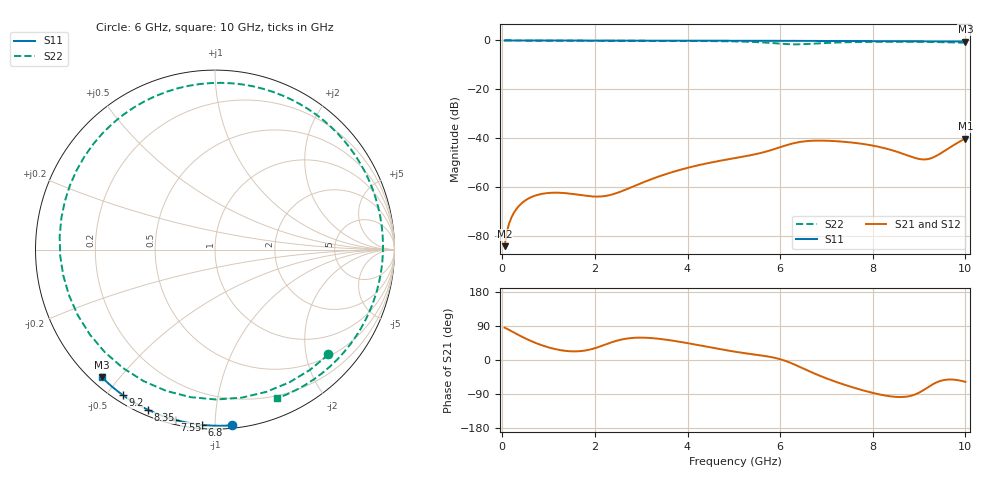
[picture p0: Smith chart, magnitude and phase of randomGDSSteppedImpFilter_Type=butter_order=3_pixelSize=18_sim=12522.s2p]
! freq	dB(S11)	phase(S11)	dB(S12)	phase(S12)
!  dB(S21)	phase(S21)	dB(S22)	phase(S22)
!S-par simulation data
#  GHz  S  DB  R 50
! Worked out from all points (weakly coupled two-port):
!   200 points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, 50 MHz to 10 GHz, reference 50 ohm
!   highest |S21| = -40.19 dB at 10 GHz (marker M1); lowest = -84.3 dB at 50 MHz (marker M2)
!   lowest |S11| = -0.4 dB at 10 GHz (marker M3), VSWR 39.05, Z = 1.54 - j22.5 ohm
!   |S11| at or under -10 dB: nowhere
!   |S22| runs from -1.6 to 0.0 dB; largest |S21 - S12| = 0
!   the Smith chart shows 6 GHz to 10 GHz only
!   S11 on the Smith chart (normalised r, x): 6 GHz: 0.02, -1.10; 6.8 GHz: 0.02, -0.93; 7.55 GHz: 0.02, -0.79; 8.35 GHz: 0.02, -0.67; 9.2 GHz: 0.03, -0.55; 10 GHz: 0.03, -0.45
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0.05  -0.00 -0.8  -84.31 85.4  -84.31 85.4  -0.00 -6.4
0.3  -0.01 -4.6  -69.19 69.2  -69.19 69.2  -0.05 -37.4
0.7  -0.01 -10.6  -63.65 46.0  -63.65 46.0  -0.09 -80.1
1.2  -0.02 -18.1  -62.40 27.3  -62.40 27.3  -0.10 -119.7
1.75  -0.03 -26.2  -63.52 24.3  -63.52 24.3  -0.11 -151.1
2.5  -0.05 -37.1  -62.34 51.8  -62.34 51.8  -0.12 176.3
3.4  -0.07 -49.9  -55.61 55.7  -55.61 55.7  -0.15 142.4
4.35  -0.09 -63.0  -50.64 36.7  -50.64 36.7  -0.23 103.4
5.05  -0.11 -72.3  -48.12 21.4  -48.12 21.4  -0.40 64.1
5.35  -0.12 -76.2  -47.07 16.0  -47.07 16.0  -0.55 40.5
5.65  -0.13 -80.0  -45.78 10.9  -45.78 10.9  -0.82 9.1
6  -0.15 -84.4  -43.75 2.1  -43.75 2.1  -1.30 -42.7
6.3  -0.16 -88.2  -42.08 -11.4  -42.08 -11.4  -1.58 -99.3
6.5  -0.17 -90.7  -41.40 -22.5  -41.40 -22.5  -1.53 -137.1
6.7  -0.18 -93.1  -41.09 -33.5  -41.09 -33.5  -1.33 -170.3
6.8  -0.19 -94.3  -41.04 -38.7  -41.04 -38.7  -1.22 175.3
7.15  -0.20 -98.6  -41.21 -55.3  -41.21 -55.3  -0.90 134.1
7.55  -0.23 -103.4  -41.84 -71.5  -41.84 -71.5  -0.68 98.9
8.35  -0.29 -112.7  -44.62 -95.4  -44.62 -95.4  -0.53 43.3
8.8  -0.32 -117.9  -47.45 -95.1  -47.45 -95.1  -0.54 14.5
9.2  -0.36 -122.5  -48.58 -71.3  -48.58 -71.3  -0.61 -11.5
10  -0.44 -131.5  -40.19 -57.6  -40.19 -57.6  -0.94 -67.3
